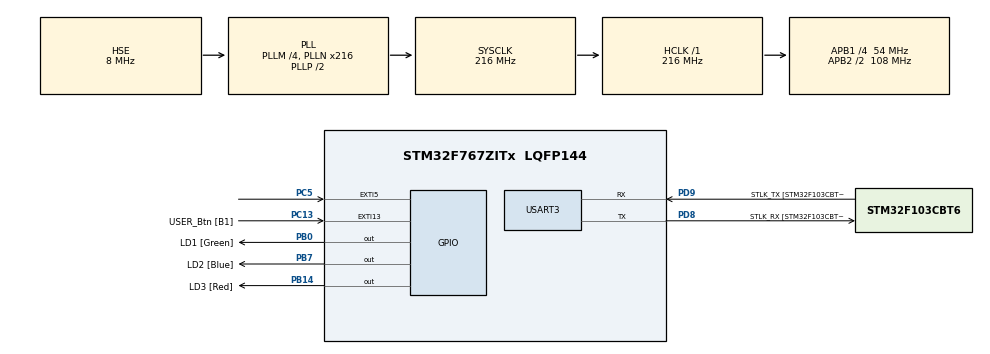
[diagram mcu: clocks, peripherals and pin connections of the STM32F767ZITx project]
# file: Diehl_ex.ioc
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Mcu.Family=STM32F7
Mcu.Name=STM32F767ZITx
Mcu.Package=LQFP144
NVIC.PriorityGroup=NVIC_PRIORITYGROUP_4
PA13.GPIO_Label=TMS
PA13.Mode=Serial_Wire
PA13.Signal=SYS_JTMS-SWDIO
PA14.GPIO_Label=TCK
PA14.Mode=Serial_Wire
PA14.Signal=SYS_JTCK-SWCLK
PB0.GPIO_Label=LD1 [Green]
PB0.Signal=GPIO_Output
PB14.GPIO_Label=LD3 [Red]
PB14.Signal=GPIO_Output
PB3.GPIO_Label=SWO
PB3.Signal=SYS_JTDO-SWO
PB7.GPIO_Label=LD2 [Blue]
PB7.Signal=GPIO_Output
PC13.GPIO_Label=USER_Btn [B1]
PC13.Signal=GPXTI13
PC14/OSC32_IN.Signal=RCC_OSC32_IN
PC15/OSC32_OUT.Signal=RCC_OSC32_OUT
PC5.Signal=GPXTI5
PD8.GPIO_Label=STLK_RX [STM32F103CBT6_PA3]
PD8.Mode=Asynchronous
PD8.Signal=USART3_TX
PD9.GPIO_Label=STLK_TX [STM32F103CBT6_PA2]
PD9.Mode=Asynchronous
PD9.Signal=USART3_RX
PH0/OSC_IN.Mode=HSE-External-Oscillator
PH0/OSC_IN.Signal=RCC_OSC_IN
PH1/OSC_OUT.Mode=HSE-External-Oscillator
PH1/OSC_OUT.Signal=RCC_OSC_OUT
ProjectManager.HeapSize=0x200
ProjectManager.StackSize=0x400
ProjectManager.TargetToolchain=STM32CubeIDE
RCC.48MHZClocksFreq_Value=24000000
RCC.AHBFreq_Value=216000000
RCC.APB1CLKDivider=RCC_HCLK_DIV4
RCC.APB1Freq_Value=54000000
RCC.APB1TimFreq_Value=108000000
RCC.APB2CLKDivider=RCC_HCLK_DIV2
RCC.APB2Freq_Value=108000000
RCC.APB2TimFreq_Value=216000000
RCC.CortexFreq_Value=216000000
RCC.HCLKFreq_Value=216000000
RCC.HSE_VALUE=8000000
RCC.HSI_VALUE=16000000
RCC.PLLM=4
RCC.PLLMUL=RCC_PLL_MUL9
RCC.PLLN=216
RCC.PLLQ=4
RCC.PLLSourceVirtual=RCC_PLLSOURCE_HSE
RCC.PRESCALERUSB=RCC_USBCLKSOURCE_PLL_DIV1_5
RCC.SYSCLKFreq_VALUE=216000000
RCC.SYSCLKSource=RCC_SYSCLKSOURCE_PLLCLK
RCC.SYSCLKSourceVirtual=RCC_SYSCLKSOURCE_PLLCLK
RCC.USBFreq_Value=108000000
RCC.VCOOutputFreq_Value=432000000
USART3.VirtualMode-Asynchronous=VM_ASYNC
board=NUCLEO-F767ZI

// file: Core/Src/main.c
/* USER CODE BEGIN Header */
/**
  ******************************************************************************
  * @file           : main.c
  * @brief          : Main program body
  ******************************************************************************
  * @attention
  *
  * Copyright (c) 2024 STMicroelectronics.
  * All rights reserved.
  *
  * This software is licensed under terms that can be found in the LICENSE file
  * in the root directory of this software component.
  * If no LICENSE file comes with this software, it is provided AS-IS.
  *
  ******************************************************************************
  */
/* USER CODE END Header */
#include "main.h"
#include "usart.h"
#include "gpio.h"

/* USER CODE BEGIN Includes */
#include<stdio.h>
#include<stdlib.h>
#include <stdint.h>

#include"mytime.h"

#include <time.h>

#define TEST_TIMESTAMP 	 	1704067195 // 31.12.2023 23:59:55 at GMT = 0
#define TEST_TIMESTAMP2		1705924410
//#define TEST_TIMESTAMP		0

/* USER CODE END Includes */

/* USER CODE BEGIN PTD */

bool convertDateTypes(date_t *myDate, const struct tm *libDate) //convert from struct tm to date_t
{
    myDate->Year = (uint8_t)libDate->tm_year - 70;
    myDate->Month = (uint8_t)libDate->tm_mon;
    myDate->Day = (uint8_t)libDate->tm_mday;

    myDate->Hour = (uint8_t)libDate->tm_hour;
    myDate->Minutes = (uint8_t)libDate->tm_min;
    myDate->Seconds = (uint8_t)libDate->tm_sec;

    return true;

}
/* USER CODE END PTD */

void SystemClock_Config(void);

int main(void)
{

  /* MCU Configuration--------------------------------------------------------*/

  /* Reset of all peripherals, Initializes the Flash interface and the Systick. */
  HAL_Init();

  /* Configure the system clock */
  SystemClock_Config();

  /* Initialize all configured peripherals */
  MX_GPIO_Init();
  MX_USART3_UART_Init();
  /* USER CODE BEGIN 2 */

  char uartStr[64];
  char *uartStr_ptr = &uartStr;
  char tempStr[64];
  char *tempStr_ptr = &tempStr;

  date_t myDate;
  struct tm *libDate;

  timestamp_t lastTimestamp;
  timestamp_t myTimestampA = TEST_TIMESTAMP;
  timestamp_t myTimestampB = TEST_TIMESTAMP2;
  timestamp_t myTimestampC;

  //time_t libTimestamp = TEST_TIMESTAMP;

  weekday_t day;
  uint16_t elapsedDays;

  bool ReturnValue;
  bool isOk = true;

  //test sending NULLs

  ReturnValue = timeToDate(myTimestampA, NULL);
  if(ReturnValue != 0) isOk = false;

  ReturnValue = dateToTime(NULL, NULL);
  if(ReturnValue != 0) isOk = false;

  ReturnValue = dateToTime(&myDate, NULL);
  if(ReturnValue != 0) isOk = false;

  ReturnValue = dateToTime(NULL, myTimestampA);
  if(ReturnValue != 0) isOk = false;

  ReturnValue = timeToWeekday(myTimestampA, NULL);
  if(ReturnValue != 0) isOk = false;

  ReturnValue = dayBetweenTimes(myTimestampA, myTimestampB, NULL);
  if(ReturnValue != 0) isOk = false;

  sprintf(uartStr_ptr, "isOk value for NULL tests: %d\n", (uint8_t)isOk);
  HAL_UART_Transmit(&huart3, uartStr_ptr, strlen(uartStr_ptr), 500);

  /* USER CODE END 2 */

  /* Infinite loop */
  while (1)
  {

    /* USER CODE BEGIN 3 */

	  //test sending TIMESTAMP

	  if(myTimestampA != lastTimestamp)
	  {
		  //time to date
		   ReturnValue = timeToDate(myTimestampA, tempStr_ptr);
		   sprintf(uartStr_ptr, "timestamp A time is: %s\n", tempStr_ptr);
		   HAL_UART_Transmit(&huart3, uartStr_ptr, strlen(uartStr_ptr), 500);
		   if(ReturnValue == 0) isOk = false;

		   ReturnValue = timeToDate(myTimestampB, tempStr_ptr);
		   sprintf(uartStr_ptr, "timestamp B time is: %s\n", tempStr_ptr);
		   HAL_UART_Transmit(&huart3, uartStr_ptr, strlen(uartStr_ptr), 500);
		   if(ReturnValue == 0) isOk = false;

		   //date to time
		   time_t temp = (time_t)myTimestampA;
		   libDate = localtime(&temp); //convert from timestamp to struct tm
		   convertDateTypes(&myDate, libDate); //convert from struct tm to  date_t

		   sprintf(uartStr_ptr, "timestamp A value is: %d\n", myTimestampA);
		   HAL_UART_Transmit(&huart3, uartStr_ptr, strlen(uartStr_ptr), 500);

		   ReturnValue = dateToTime(&myDate, &myTimestampC);
		   sprintf(uartStr_ptr, "dateToTime value is: %d\n", myTimestampC);
		   HAL_UART_Transmit(&huart3, uartStr_ptr, strlen(uartStr_ptr), 500);

		   if((ReturnValue == 0) || ((myTimestampC - myTimestampA) != 0)) isOk = false;

		   //time to weekday
		   ReturnValue = timeToWeekday(myTimestampA, &day);
		   sprintf(uartStr_ptr, "for timestamp A date current day is %d\n", (uint8_t)day);
		   HAL_UART_Transmit(&huart3, uartStr_ptr, strlen(uartStr_ptr), 500);
		   if(ReturnValue == 0) isOk = false;

		  //days between times
		  ReturnValue = dayBetweenTimes(myTimestampA, myTimestampB, &elapsedDays);
		  sprintf(uartStr_ptr, "elapsed days between timestamp A and B are: %d\n", elapsedDays);
		  HAL_UART_Transmit(&huart3, uartStr_ptr, strlen(uartStr_ptr), 500);
		  if(ReturnValue == 0) isOk = false;

		  sprintf(uartStr_ptr, "isOk value for upper tests is: %d\n\n", (uint8_t)isOk);
		  HAL_UART_Transmit(&huart3, uartStr_ptr, strlen(uartStr_ptr), 500);

		  lastTimestamp = myTimestampA;
	  }

	  HAL_Delay(800);
	  myTimestampA += 86000; //not whole day

  }
  /* USER CODE END 3 */
}

void SystemClock_Config(void)
{
  RCC_OscInitTypeDef RCC_OscInitStruct = {0};
  RCC_ClkInitTypeDef RCC_ClkInitStruct = {0};

  /** Configure the main internal regulator output voltage
  */
  __HAL_RCC_PWR_CLK_ENABLE();
  __HAL_PWR_VOLTAGESCALING_CONFIG(PWR_REGULATOR_VOLTAGE_SCALE1);

  /** Initializes the RCC Oscillators according to the specified parameters
  * in the RCC_OscInitTypeDef structure.
  */
  RCC_OscInitStruct.OscillatorType = RCC_OSCILLATORTYPE_HSE;
  RCC_OscInitStruct.HSEState = RCC_HSE_ON;
  RCC_OscInitStruct.PLL.PLLState = RCC_PLL_ON;
  RCC_OscInitStruct.PLL.PLLSource = RCC_PLLSOURCE_HSE;
  RCC_OscInitStruct.PLL.PLLM = 4;
  RCC_OscInitStruct.PLL.PLLN = 216;
  RCC_OscInitStruct.PLL.PLLP = RCC_PLLP_DIV2;
  RCC_OscInitStruct.PLL.PLLQ = 4;
  RCC_OscInitStruct.PLL.PLLR = 2;
  if (HAL_RCC_OscConfig(&RCC_OscInitStruct) != HAL_OK)
  {
    Error_Handler();
  }

  /** Activate the Over-Drive mode
  */
  if (HAL_PWREx_EnableOverDrive() != HAL_OK)
  {
    Error_Handler();
  }

  /** Initializes the CPU, AHB and APB buses clocks
  */
  RCC_ClkInitStruct.ClockType = RCC_CLOCKTYPE_HCLK|RCC_CLOCKTYPE_SYSCLK
                              |RCC_CLOCKTYPE_PCLK1|RCC_CLOCKTYPE_PCLK2;
  RCC_ClkInitStruct.SYSCLKSource = RCC_SYSCLKSOURCE_PLLCLK;
  RCC_ClkInitStruct.AHBCLKDivider = RCC_SYSCLK_DIV1;
  RCC_ClkInitStruct.APB1CLKDivider = RCC_HCLK_DIV4;
  RCC_ClkInitStruct.APB2CLKDivider = RCC_HCLK_DIV2;

  if (HAL_RCC_ClockConfig(&RCC_ClkInitStruct, FLASH_LATENCY_7) != HAL_OK)
  {
    Error_Handler();
  }
}

void Error_Handler(void)
{
  __disable_irq();
  while (1)
  {
  }
}
